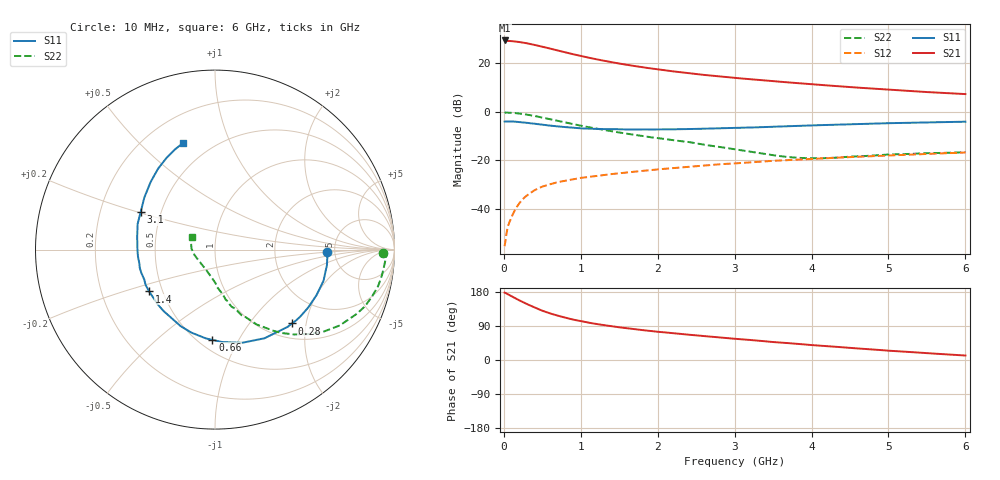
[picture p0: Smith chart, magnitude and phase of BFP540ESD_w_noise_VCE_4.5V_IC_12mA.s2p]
! Infineon Technologies  Discrete & RF Semiconductors
! BFP540ESD
! VCE =  4.5 V,  IC =  12 mA
! Common Emitter S-Parameters:  Nov 2015
# GHz  S  MA  R  50
!  f  S11  S21  S12  S22
! GHz  MAG  ANG  MAG  ANG  MAG  ANG  MAG  ANG
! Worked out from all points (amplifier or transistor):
!   210 points, 10 MHz to 6 GHz, reference 50 ohm
!   highest |S21| = 29.3 dB at 10 MHz (marker M1)
!   |S21| within 3 dB of that: start of sweep to 556.7 MHz
!   unconditionally stable (mu >= 1): start of sweep to 17.58 MHz; 2.552 GHz to end of sweep
!   at 185 MHz: K = 0.25, MSG = 33.6 dB, |S12| = -38.4 dB
!   at 1.52 GHz: K = 0.78, MSG = 22.5 dB, |S12| = -25.3 dB
!   at 6 GHz: K = 1.14, MAG = 9.7 dB, |S12| = -16.9 dB
!   lowest NFmin = 0.93 dB at 900 MHz
!   S11 on the Smith chart (normalised r, x): 10 MHz: 4.30, -0.15; 280 MHz: 1.31, -1.66; 660 MHz: 0.58, -0.78; 1.4 GHz: 0.42, -0.24; 3.1 GHz: 0.38, +0.21; 6 GHz: 0.35, +0.68
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0.01  0.623 -1.0  29.12 177.8  0.0017 24.0  0.9372 -1.3
0.02  0.6273 -3.3  28.79 177.2  0.0021 37.6  0.9569 -1.5
0.1  0.629 -16.0  28.22 168.3  0.0067 67.5  0.9422 -8.5
0.15  0.62 -24.1  27.73 162.9  0.0098 73.1  0.931 -12.7
0.2  0.6113 -31.9  27.06 157.5  0.0129 72.0  0.9125 -16.8
0.28  0.5947 -43.8  25.77 149.5  0.0177 69.1  0.8769 -22.9
0.4  0.5659 -60.8  23.59 138.3  0.0241 64.2  0.8134 -31.3
0.5  0.5406 -73.9  21.78 130.1  0.0286 61.5  0.7545 -37.5
0.6  0.5164 -85.7  19.8 122.9  0.032 58.6  0.6978 -42.5
0.66  0.5032 -91.7  18.8 119.5  0.0339 57.0  0.6664 -45.1
0.8  0.4809 -105.9  16.57 111.4  0.0379 55.1  0.5956 -51.3
0.9  0.4672 -114.3  15.18 106.6  0.0403 53.4  0.5529 -54.6
1.02  0.4508 -123.6  13.74 101.7  0.0436 52.4  0.506 -58.2
1.2  0.4416 -136.4  11.94 95.1  0.0474 50.3  0.4478 -62.9
1.4  0.4346 -147.6  10.41 89.1  0.0518 49.4  0.3935 -68.1
1.7  0.4305 -162.3  8.667 81.2  0.0582 47.6  0.3313 -73.8
2.02  0.4309 -174.8  7.33 74.2  0.065 46.5  0.2828 -78.1
2.6  0.4448 166.5  5.696 63.1  0.0777 43.7  0.2079 -87.1
3.1  0.4642 153.1  4.789 54.5  0.088 41.1  0.1588 -96.2
4.1  0.5254 131.8  3.558 38.0  0.1081 34.0  0.1096 -145.9
5.1  0.5814 116.7  2.77 23.4  0.1267 26.5  0.1319 174.8
6  0.62 106.8  2.294 11.8  0.1437 20.7  0.146 150.4
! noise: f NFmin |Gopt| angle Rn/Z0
0.9  0.93  0.16  -133  0.11
1.8  1.11  0.2  -149  0.1
2.4  1.12  0.2  -146  0.1
3  1.24  0.25  -142  0.11
4  1.35  0.38  -110  0.17
5  1.51  0.47  -91  0.3
6  1.78  0.53  -92  0.49
